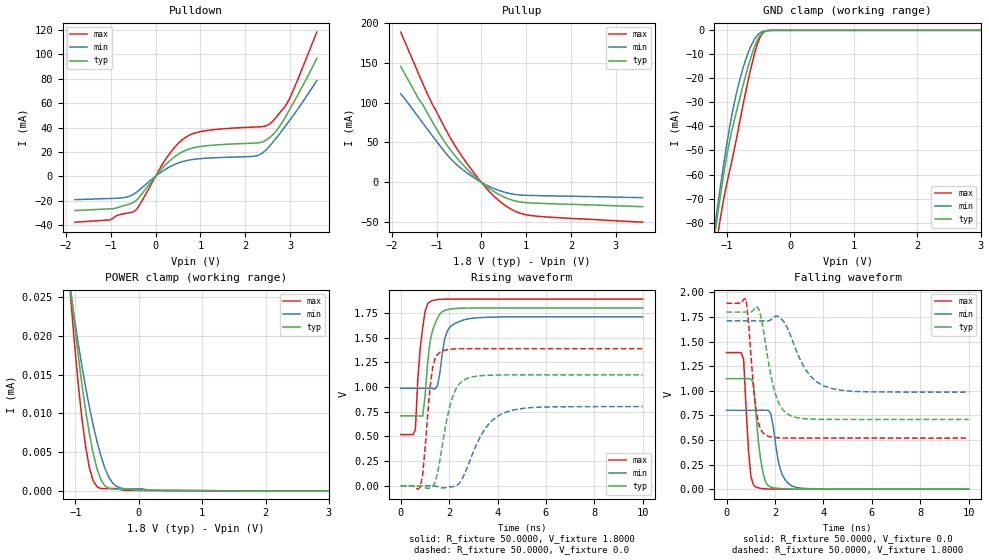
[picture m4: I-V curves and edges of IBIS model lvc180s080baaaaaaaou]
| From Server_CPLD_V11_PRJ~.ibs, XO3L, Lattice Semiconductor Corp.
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[Model]   lvc180s080baaaaaaaou
Model_type   Output
Polarity   Non-Inverting
Enable   Active-Low
Vmeas =   0.9000V
Cref =   0.0F
Rref =   1.0000M
Vref =   0.0V
C_comp   4.2000pF   3.8000pF   7.5000pF
[Temperature Range]   25.0000   0.1050k   -40.0000
[Voltage Range]   1.8000V   1.7100V   1.8900V
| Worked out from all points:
|   slope of the pulldown table from 0 to 0.27 V, typ, clamps not added: 24.3 ohm
|   slope of the pullup table from 0 to 0.27 V, typ, clamps not added: 24.1 ohm
|   GND clamp passes 1 mA (typ) near -0.44 V on its own axis
|   rising waveform, R_fixture 50.0000, V_fixture 1.8000: 20-80 % time 317ps typ, 313ps min, 267ps max; typ from 0.708 V to 1.8 V
|   rising waveform, R_fixture 50.0000, V_fixture 0.0: 20-80 % time 550ps typ, 995ps min, 303ps max; typ from 0 V to 1.12 V
|   falling waveform, R_fixture 50.0000, V_fixture 0.0: 20-80 % time 290ps typ, 361ps min, 202ps max; typ from 1.12 V to 0 V
|   falling waveform, R_fixture 50.0000, V_fixture 1.8000: 20-80 % time 532ps typ, 904ps min, 295ps max; typ from 1.8 V to 0.708 V
[Pulldown]
|Voltage   I(typ)   I(min)   I(max)
-1.8V     -28.04mA   -19.11mA   -37.59mA
-1.02V    -26.67mA   -18.17mA   -35.8mA
-480mV    -21.13mA   -14.49mA   -28.87mA
-360mV    -16.89mA   -11.13mA   -23.66mA
300mV     12.14mA    7.44mA     17.93mA
720mV     22mA       13.12mA    33.05mA
1.2V      25.28mA    15.01mA    37.83mA
2.22V     27.25mA    16.59mA    40.4mA
2.4V      28.42mA    19.5mA     40.82mA
2.58V     32.82mA    26.26mA    43.97mA
3V        55.16mA    46.16mA    64.46mA
3.6V      96.65mA    78.54mA    118.2mA
[Pullup]
|Voltage   I(typ)   I(min)   I(max)
-1.8V     145.2mA    111mA      188.3mA
-1.38V    102.7mA    79.92mA    133.3mA
-1.2V     86.47mA    66.31mA    110.3mA
-900mV    57.64mA    44.09mA    77.35mA
-660mV    38.42mA    28.01mA    52.66mA
-360mV    19.03mA    13.42mA    26.77mA
0V        -3.621nA   -3.321nA   -5.23nA
240mV     -10.15mA   -6.836mA   -15.04mA
480mV     -17.78mA   -11.81mA   -26.87mA
780mV     -23.67mA   -15.37mA   -36.89mA
1.08V     -25.78mA   -16.44mA   -41.49mA
3.6V      -30.51mA   -19.25mA   -49.97mA
[GND_clamp]
|Voltage   I(typ)   I(min)   I(max)
-1.8V     -240.2mA   -229.4mA   -254.3mA
-1.2V     -86.16mA   -82.91mA   -94.88mA
-1.17V    -80.45mA   -77.09mA   -89.3mA
-1.11V    -69.45mA   -65.77mA   -78.87mA
-1.02V    -54.48mA   -49.86mA   -65.69mA
-930mV    -42.25mA   -35.9mA    -54.92mA
-780mV    -26.14mA   -18.58mA   -35.25mA
-690mV    -17.13mA   -10.87mA   -23.53mA
-570mV    -7.024mA   -3.834mA   -9.978mA
-450mV    -1.176mA   -584.6uA   -1.582mA
-300mV    -18.65uA   -15.9uA    -16.44uA
3.6V      0A         0A         0A
[POWER_clamp]
|Voltage   I(typ)   I(min)   I(max)
-1.8V     102.4uA    78.03uA    133.9uA
-1.08V    26.57uA    25.91uA    25.52uA
-1.02V    21.97uA    22.48uA    19.46uA
-960mV    17.73uA    19.24uA    14.09uA
-840mV    10.4uA     13.41uA    5.721uA
-780mV    7.367uA    10.82uA    2.953uA
-660mV    2.828uA    6.356uA    502.7nA
-600mV    1.45uA     4.526uA    261.9nA
-480mV    332.2nA    1.843uA    261.9nA
-360mV    177.6nA    587.2nA    261.9nA
-240mV    177.6nA    270.7nA    57.44nA
3.6V      -31nA      -27.04nA   -40.53nA
[Ramp]
| variable   typ   min   max
dV/dt_r  0.6610/0.5441n   0.4811/0.9851n   0.8331/0.2999n
dV/dt_f  0.6551/0.5269n   0.4337/0.8944n   0.8227/0.2917n
R_load = 50.0000
[Rising Waveform]
R_fixture=   50.0000
V_fixture=   1.8000
V_fixture_min=   1.7100
V_fixture_max=   1.8900
|time   V(typ)   V(min)   V(max)
0s        708.2mV    987.1mV    518.8mV
606.1ps   708.2mV    987.1mV    565.4mV
707.1ps   708.5mV    987.1mV    1.08V
808.1ps   705.9mV    987.1mV    1.399V
909.1ps   707mV      987.1mV    1.601V
1.212ns   1.459V     988.1mV    1.865V
1.515ns   1.696V     1.011V     1.885V
1.919ns   1.783V     1.564V     1.889V
2.525ns   1.798V     1.673V     1.89V
10ns      1.8V       1.71V      1.89V
[Rising Waveform]
R_fixture=   50.0000
V_fixture=   0.0
V_fixture_min=   0.0
V_fixture_max=   0.0
|time   V(typ)   V(min)   V(max)
0s        416.8nV    613.5nV    315.6nV
808.1ps   -1.039mV   1.182uV    -11.37mV
909.1ps   -6.19mV    12.11uV    116.2mV
1.313ns   -8.391mV   -721.4uV   1.187V
1.717ns   406.1mV    -20.81mV   1.365V
2.222ns   950.3mV    -5.742mV   1.385V
2.828ns   1.094V     235.6mV    1.388V
3.535ns   1.118V     593.3mV    1.389V
4.444ns   1.123V     753.5mV    1.389V
10ns      1.124V     801.8mV    1.389V
[Falling Waveform]
R_fixture=   50.0000
V_fixture=   0.0
V_fixture_min=   0.0
V_fixture_max=   0.0
|time   V(typ)   V(min)   V(max)
0s        1.124V     801.8mV    1.389V
707.1ps   1.124V     801.8mV    1.315V
909.1ps   1.124V     801.8mV    387.8mV
1.01ns    1.122V     801.8mV    123.7mV
1.212ns   788.3mV    801.8mV    21.25mV
1.515ns   155.1mV    802.2mV    4.899mV
1.818ns   22.23mV    773.6mV    1.2mV
2.222ns   5.808mV    201.3mV    223.4uV
2.727ns   1.36mV     29.64mV    55.95uV
10ns      -7.639uV   31.92uV    -3.753uV
[Falling Waveform]
R_fixture=   50.0000
V_fixture=   1.8000
V_fixture_min=   1.7100
V_fixture_max=   1.8900
|time   V(typ)   V(min)   V(max)
0s        1.8V       1.71V      1.89V
808.1ps   1.8V       1.71V      1.932V
1.212ns   1.857V     1.71V      814.1mV
1.414ns   1.761V     1.711V     603.6mV
1.616ns   1.471V     1.71V      549.8mV
2.121ns   896.9mV    1.757V     522.5mV
2.727ns   739.1mV    1.507V     519.2mV
3.434ns   713.1mV    1.161V     518.9mV
4.242ns   709mV      1.031V     518.8mV
10ns      708.2mV    987.1mV    518.8mV
